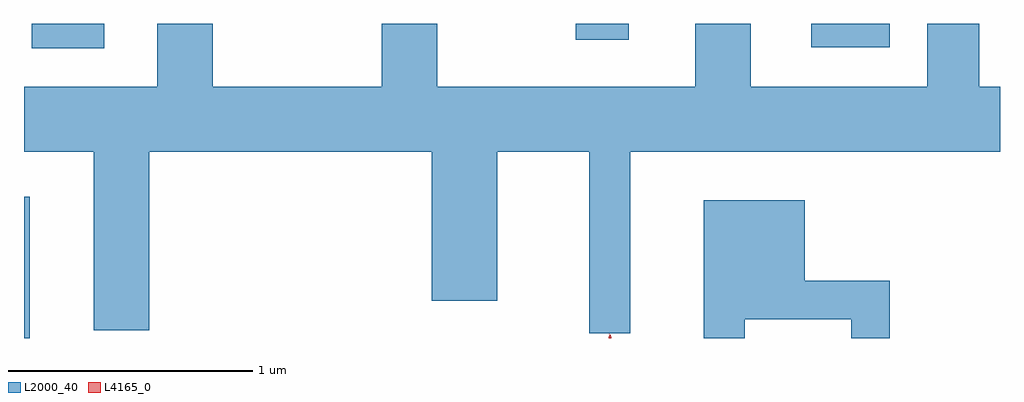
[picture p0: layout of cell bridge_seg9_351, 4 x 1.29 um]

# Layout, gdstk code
import gdstk
lib = gdstk.Library(unit=1e-6, precision=1e-09)
def R(c, l, rs):  # rectangles x0, y0, x1, y1
    for r in rs: c.add(gdstk.rectangle(r[:2], r[2:], *l))
def P(c, l, *ps):  # polygons
    for p in ps: c.add(gdstk.Polygon(p, *l))
L2000_40 = (2000, 40)
L4165_0 = (4165, 0)

bridge_seg9_351 = lib.new_cell('bridge_seg9_351')
R(bridge_seg9_351, L2000_40, [(732.885,1944.432,732.909,1945.013), (732.916,1945.621,733.214,1945.722), (736.111,1945.626,736.434,1945.722), (735.146,1945.656,735.364,1945.722)])
P(bridge_seg9_351, L2000_40, [(732.885,1945.196),(733.171,1945.196),(733.171,1944.466),(733.399,1944.466),(733.399,1945.196),(734.556,1945.196),(734.556,1944.586),(734.824,1944.586),(734.824,1945.196),(735.201,1945.196),(735.201,1944.453),(735.369,1944.453),(735.369,1945.196),(736.885,1945.196),(736.885,1945.464),(736.799,1945.464),(736.799,1945.722),(736.586,1945.722),(736.586,1945.464),(735.864,1945.464),(735.864,1945.722),(735.636,1945.722),(735.636,1945.464),(734.579,1945.464),(734.579,1945.722),(734.351,1945.722),(734.351,1945.464),(733.659,1945.464),(733.659,1945.722),(733.431,1945.722),(733.431,1945.464),(732.885,1945.464)],
  [(735.839,1944.511),(736.276,1944.511),(736.276,1944.432),(736.434,1944.432),(736.434,1944.669),(736.084,1944.669),(736.084,1944.999),(735.671,1944.999),(735.671,1944.432),(735.839,1944.432)])
P(bridge_seg9_351, L4165_0, [(735.281,1944.432),(735.283,1944.449),(735.283,1944.45),(735.284,1944.449),(735.287,1944.432)],
  [(735.286,1944.432),(735.288,1944.446),(735.289,1944.447),(735.289,1944.446),(735.291,1944.432)])

lib.write_gds('bridge_seg9_351.gds')
